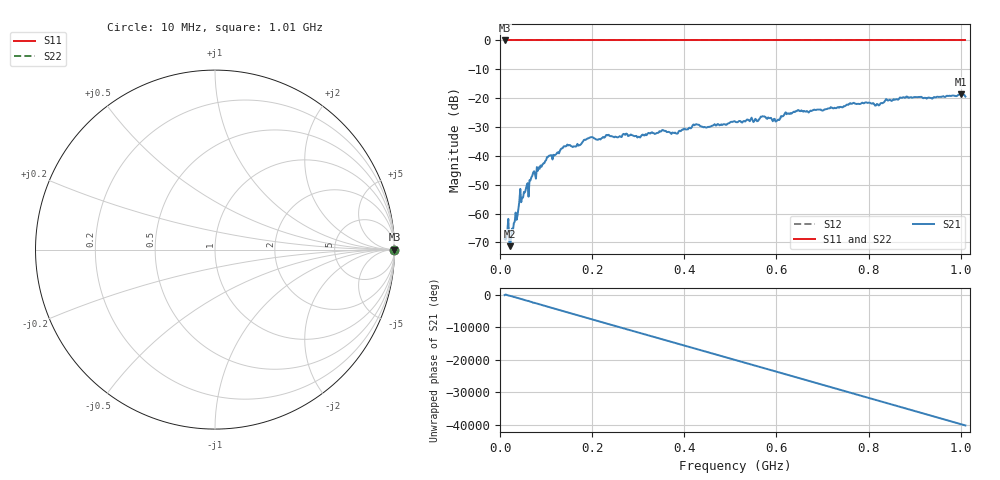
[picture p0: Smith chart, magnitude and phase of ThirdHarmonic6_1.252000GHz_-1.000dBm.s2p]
! 8/16/2025 1:23:51 PM
! C:\ANRITSUVNA\TEMP\TEMP.S2P
! CHANNEL.1
! TR.MEASUREMENT
! RAW.DATA
! RF.CORRECTION.OFF
! AVERAGING.OFF
! IF.BANDWIDTH: 5KHZ
! SWEEPTYPE:  FREQ.SWEEP(Linear)
! Reference Plane Port Info
! PORT:  PORT1  PORT2
! DISTANCE:  0  m  0  m
! TIME:  0  s  0  s
! PHASE.OFFSET:  0  deg.  0  deg.
! LOSS:  0  dB  0  dB
! REF.LOSS:  0  dB  0  dB
! REF.FREQ:  0  Hz  0  Hz
! Power Info
! POWER:  -20  dBm  -20  dBm
! EFF.POWER:  -20  dBm  -20  dBm
! SOURCE.ATTEN:  0  dB  0  dB
! TEST.ATTEN:  0  dB  0  dB
# GHZ S RI R 50.0
! FREQ.GHZ  S11RE  S11IM  S21RE  S21IM  S12RE  S12IM  S22RE  S22IM
!; PortSelection: Port_12
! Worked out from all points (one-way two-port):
!   501 points, 10 MHz to 1.01 GHz, reference 50 ohm
!   highest |S21| = -18.65 dB at 1 GHz (marker M1); lowest = -71.3 dB at 22 MHz (marker M2)
!   lowest |S11| = 0.0 dB at 10 MHz (marker M3)
!   |S11| at or under -10 dB: nowhere
!   |S22| runs from 0.0 to 0.0 dB; largest |S21 - S12| = 1.1
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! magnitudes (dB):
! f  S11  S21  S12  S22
! 10 MHz  0.0  -68.8  0.0  0.0
! 14 MHz  0.0  -68.3  0.0  0.0
! 22 MHz  0.0  -71.3  0.0  0.0
! 24 MHz  0.0  -68.8  0.0  0.0
! 44 MHz  0.0  -51.4  0.0  0.0
! 72 MHz  0.0  -45.8  0.0  0.0
! 106 MHz  0.0  -40.0  0.0  0.0
! 142 MHz  0.0  -36.7  0.0  0.0
! 178 MHz  0.0  -35.5  0.0  0.0
! 198 MHz  0.0  -33.5  0.0  0.0
! 344 MHz  0.0  -32.0  0.0  0.0
! 382 MHz  0.0  -32.2  0.0  0.0
! 422 MHz  0.0  -29.4  0.0  0.0
! 450 MHz  0.0  -30.1  0.0  0.0
! 510 MHz  0.0  -28.1  0.0  0.0
! 570 MHz  0.0  -26.3  0.0  0.0
! 602 MHz  0.0  -27.6  0.0  0.0
! 622 MHz  0.0  -25.6  0.0  0.0
! 678 MHz  0.0  -24.3  0.0  0.0
! 844 MHz  0.0  -20.7  0.0  0.0
! 1 GHz  0.0  -18.7  0.0  0.0
! 1.01 GHz  0.0  -19.4  0.0  0.0
